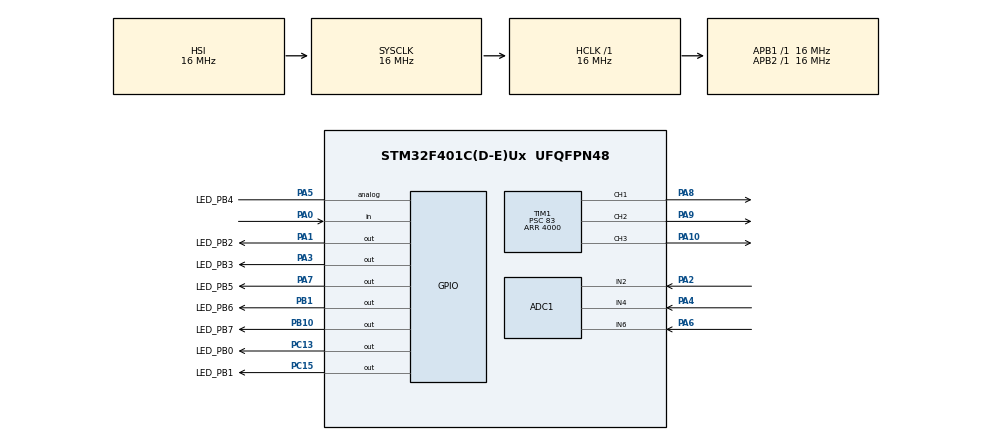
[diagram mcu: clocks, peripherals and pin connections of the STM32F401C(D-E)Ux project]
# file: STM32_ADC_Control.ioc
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ADC1.Channel-0\#ChannelRegularConversion=ADC_CHANNEL_6
ADC1.Channel-1\#ChannelRegularConversion=ADC_CHANNEL_2
ADC1.Channel-2\#ChannelRegularConversion=ADC_CHANNEL_4
ADC1.ContinuousConvMode=DISABLE
ADC1.DMAContinuousRequests=ENABLE
ADC1.DiscontinuousConvMode=ENABLE
ADC1.EOCSelection=ADC_EOC_SEQ_CONV
ADC1.NbrOfConversion=3
ADC1.NbrOfConversionFlag=1
ADC1.Rank-0\#ChannelRegularConversion=1
ADC1.Rank-1\#ChannelRegularConversion=2
ADC1.Rank-2\#ChannelRegularConversion=3
ADC1.SamplingTime-0\#ChannelRegularConversion=ADC_SAMPLETIME_3CYCLES
ADC1.SamplingTime-1\#ChannelRegularConversion=ADC_SAMPLETIME_3CYCLES
ADC1.SamplingTime-2\#ChannelRegularConversion=ADC_SAMPLETIME_3CYCLES
ADC1.ScanConvMode=ENABLE
ADC1.master=1
Dma.ADC1.0.Direction=DMA_PERIPH_TO_MEMORY
Dma.ADC1.0.FIFOMode=DMA_FIFOMODE_DISABLE
Dma.ADC1.0.Instance=DMA2_Stream0
Dma.ADC1.0.MemDataAlignment=DMA_MDATAALIGN_HALFWORD
Dma.ADC1.0.MemInc=DMA_MINC_ENABLE
Dma.ADC1.0.Mode=DMA_CIRCULAR
Dma.ADC1.0.PeriphDataAlignment=DMA_PDATAALIGN_HALFWORD
Dma.ADC1.0.PeriphInc=DMA_PINC_DISABLE
Dma.ADC1.0.Priority=DMA_PRIORITY_LOW
Dma.Request0=ADC1
FREERTOS.Tasks01=Handle_Button,1,128,Handle_Button_Task,Default,NULL,Dynamic,NULL,NULL;defaultTask,1,128,default_Task,Default,NULL,Dynamic,NULL,NULL;LED_PC15,0,128,LED_PC15_Task,Default,NULL,Dynamic,NULL,NULL;LED_PC13,0,128,LED_PC04_Task,Default,NULL,Dynamic,NULL,NULL
Mcu.Family=STM32F4
Mcu.Name=STM32F401C(D-E)Ux
Mcu.Package=UFQFPN48
NVIC.DMA2_Stream0_IRQn=true\:5\:0\:false\:false\:true\:true\:false\:true\:true
NVIC.PriorityGroup=NVIC_PRIORITYGROUP_4
NVIC.TIM2_IRQn=true\:15\:0\:false\:false\:true\:false\:false\:true\:true
NVIC.TimeBase=TIM2_IRQn
NVIC.TimeBaseIP=TIM2
PA0-WKUP.GPIO_PuPd=GPIO_PULLUP
PA0-WKUP.Signal=GPIO_Input
PA1.GPIO_Label=LED_PB2
PA1.Signal=GPIO_Output
PA10.Signal=S_TIM1_CH3
PA13.Mode=Serial_Wire
PA13.Signal=SYS_JTMS-SWDIO
PA14.Mode=Serial_Wire
PA14.Signal=SYS_JTCK-SWCLK
PA2.Signal=ADCx_IN2
PA3.GPIO_Label=LED_PB3
PA3.Signal=GPIO_Output
PA4.Signal=ADCx_IN4
PA5.GPIO_Label=LED_PB4
PA5.Signal=GPIO_Analog
PA6.Signal=ADCx_IN6
PA7.GPIO_Label=LED_PB5
PA7.Signal=GPIO_Output
PA8.Signal=S_TIM1_CH1
PA9.Signal=S_TIM1_CH2
PB1.GPIO_Label=LED_PB6
PB1.GPIO_PuPd=GPIO_PULLUP
PB1.Signal=GPIO_Output
PB10.GPIO_Label=LED_PB7
PB10.Signal=GPIO_Output
PC13-ANTI_TAMP.GPIO_Label=LED_PB0
PC13-ANTI_TAMP.Signal=GPIO_Output
PC15-OSC32_OUT.GPIO_Label=LED_PB1
PC15-OSC32_OUT.Signal=GPIO_Output
ProjectManager.HeapSize=0x200
ProjectManager.StackSize=0x400
ProjectManager.TargetToolchain=CMake
RCC.AHBFreq_Value=16000000
RCC.APB1Freq_Value=16000000
RCC.APB2Freq_Value=16000000
RCC.CortexFreq_Value=16000000
RCC.HSE_VALUE=25000000
RCC.HSI_VALUE=16000000
RCC.LSE_VALUE=32768
RCC.SYSCLKFreq_VALUE=16000000
RCC.VCOOutputFreq_Value=192000000
SH.ADCx_IN2.0=ADC1_IN2,IN2
SH.ADCx_IN4.0=ADC1_IN4,IN4
SH.ADCx_IN6.0=ADC1_IN6,IN6
SH.S_TIM1_CH1.0=TIM1_CH1,PWM Generation1 CH1
SH.S_TIM1_CH2.0=TIM1_CH2,PWM Generation2 CH2
SH.S_TIM1_CH3.0=TIM1_CH3,PWM Generation3 CH3
TIM1.Channel-PWM\ Generation1\ CH1=TIM_CHANNEL_1
TIM1.Channel-PWM\ Generation2\ CH2=TIM_CHANNEL_2
TIM1.Channel-PWM\ Generation3\ CH3=TIM_CHANNEL_3
TIM1.Period=4000
TIM1.Prescaler=83
VP_FREERTOS_VS_CMSIS_V1.Mode=CMSIS_V1
VP_SYS_VS_tim2.Mode=TIM2
VP_TIM1_VS_ClockSourceINT.Mode=Internal
board=custom

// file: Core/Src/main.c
/* USER CODE BEGIN Header */
/**
  ******************************************************************************
  * @file           : main.c
  * @brief          : Main program body
  ******************************************************************************
  * @attention
  *
  * Copyright (c) 2026 STMicroelectronics.
  * All rights reserved.
  *
  * This software is licensed under terms that can be found in the LICENSE file
  * in the root directory of this software component.
  * If no LICENSE file comes with this software, it is provided AS-IS.
  *
  ******************************************************************************
  */
/* USER CODE END Header */
#include "main.h"
#include "cmsis_os.h"

/* USER CODE BEGIN Includes */
#include <stdbool.h>
#include <stdint.h>

/* USER CODE END Includes */

/* USER CODE BEGIN PM */
#define ADC_CHANNELS 3
#define ADC_FULL_SCALE 4096
#define DIGITAL_INPUTS 1
#define PWM_OUTPUTS 3

#define BUTTON_Pin GPIO_PIN_13

#define NUM_LEDS 8

// Button thresholds (in ms)
#define PRESS_SHORT_TIME_MS 300
#define PRESS_LONG_TIME_MS 500
#define PRESS_DOUBLE_TIME_MS 500

// Random
#define RAND_BUFFER_SIZE 16

/* USER CODE END PM */

ADC_HandleTypeDef hadc1;
DMA_HandleTypeDef hdma_adc1;

TIM_HandleTypeDef htim1;

osThreadId Handle_ButtonHandle;
osThreadId defaultTaskHandle;
osThreadId LED_PC15Handle;
osThreadId LED_PC13Handle;
/* USER CODE BEGIN PV */

// Buffer to store ADC readings from 3 channels
uint16_t adc_buffer[ADC_CHANNELS];

// Which sensor (0, 1, 2) we'are currently displaying
uint8_t current_channel = 0;

// There're two options (0 - bar graph | 1 - binary)
uint8_t display_mode = 1;

// Running light animation (0 - normal display | 1 - one LED moves back and forth)
bool running_mode = false;

// Button handling variables
typedef struct {
  bool is_button_pressed;
  uint32_t press_time; // in seconds
  uint32_t last_release; // in seconds
  uint32_t click_count;
} ButtonInput;

ButtonInput button_input = {
  .is_button_pressed = false,
  .press_time = 0, // in seconds
  .last_release = 0, // in seconds
  .click_count = 0, // for double clicks
};

// Running LED animation state
typedef struct{
  bool direction;
  uint8_t position;
  uint32_t last_update_time;
} RunningLED;

RunningLED running_led = {
  .position = 0,
  .last_update_time = 0,
  .direction = true,
};

uint32_t random_buffer[RAND_BUFFER_SIZE] = {0};
uint8_t random_buffer_index = 0;

// Mutex for thread-safe random number access
osMutexId randomMutexHandle;

// Set LED (GPIO) pins
GPIO_TypeDef *led_ports[NUM_LEDS] = {
  LED_PB0_GPIO_Port, LED_PB1_GPIO_Port, LED_PB2_GPIO_Port, LED_PB3_GPIO_Port,
  LED_PB4_GPIO_Port, LED_PB5_GPIO_Port, LED_PB6_GPIO_Port, LED_PB7_GPIO_Port
};

uint16_t led_pins[NUM_LEDS] = {
  LED_PB0_Pin, LED_PB1_Pin, LED_PB2_Pin, LED_PB3_Pin,
  LED_PB4_Pin, LED_PB5_Pin, LED_PB6_Pin, LED_PB7_Pin
};

/* USER CODE END PV */

void SystemClock_Config(void);
static void MX_GPIO_Init(void);
static void MX_DMA_Init(void);
static void MX_ADC1_Init(void);
static void MX_TIM1_Init(void);
void Handle_Button_Task(void const * argument);
void default_Task(void const * argument);
void LED_PC15_Task(void const * argument);
void LED_PC04_Task(void const * argument);

/* USER CODE BEGIN PFP */
void set_NUM_LEDS(uint8_t pattern);
void Display_Scale(uint16_t adc_buffer);
void Display_Bits(uint16_t adc_value);
void Indicate_Channels(uint8_t channel);
void Update_Running_LED(void);
void Update_PWM_Outputs(void);
uint32_t ADC_Random_Byte(void);
uint32_t ADC_Random_Word(void);
/* USER CODE END PFP */

/* USER CODE BEGIN 0 */

// Set LED GPIO pins
void set_NUM_LEDS(uint8_t pattern)
{
  for (uint16_t i = 0; i < NUM_LEDS; i++)
  {
    HAL_GPIO_WritePin(led_ports[i], led_pins[i],
    (pattern & (1 << i)) ?  GPIO_PIN_SET : GPIO_PIN_RESET);
  }
}

// The bar graph scale mode for 8 NUM_LEDS
void Display_Scale(uint16_t adc_value)
{
  // Convert ADC_value (0-4095) to the LED count (0-8)
  // It results which led is lighting - (0-8)
  uint8_t led_count = (adc_value * 9) / ADC_FULL_SCALE;
  uint8_t pattern = 0;

  // It does bit shifting manipulation (shift it left by i pos)
  for (uint16_t i = 0; i < led_count; i++)
  {
    pattern = pattern | (1 << i);
  }

  set_NUM_LEDS(pattern);
}

// Display upper 8 bits of ADC value in binary
void Display_Bits(uint16_t adc_value)
{
  uint8_t upper_bits = (adc_value >> 4) & 0xFF;
  set_NUM_LEDS(upper_bits);
}

// Blink all NUM_LEDS to indicate channel number
void Indicate_Channel(uint8_t channel)
{
  // Blink (channel + 1) times
  for (uint8_t i = 0; i < (channel + 1); i++)
  {
    set_NUM_LEDS(0xFF); // All NUM_LEDS ON
    HAL_Delay(200);
    set_NUM_LEDS(0x00); // All NUM_LEDS OFF
    HAL_Delay(200);
  }
}

// Update running LED animation
void Update_Running_LED(void)
{
  uint16_t adc_value = adc_buffer[current_channel];

  // Calculate delay based on Button thresholds and ADC value
  uint32_t delay = PRESS_LONG_TIME_MS - ((adc_value * (PRESS_LONG_TIME_MS - PRESS_SHORT_TIME_MS)) / ADC_FULL_SCALE);
  uint32_t current_time = HAL_GetTick();

  if (current_time - running_led.last_update_time >= delay)
  {
    running_led.last_update_time = current_time;

    // Light only the current LED
    set_NUM_LEDS(1 << running_led.position);

    if (running_led.direction)
    {
      running_led.position++;
      if (running_led.position >= (NUM_LEDS - 1))
      {
        running_led.position = NUM_LEDS - 1;
        running_led.direction = false; // Reverse direction
      }
    } else {
      // Moving backward
      if (running_led.position == 0)
      {
        running_led.direction = true;
      } else {
        running_led.position--;
      }
    }
  }
}

void Update_PWM_Outputs(void)
{
  uint32_t pwm_period = htim1.Init.Period;

  // Set PWM duty cycle proportional to ADC value
  __HAL_TIM_SET_COMPARE(&htim1, TIM_CHANNEL_1, (adc_buffer[0] * pwm_period) / ADC_FULL_SCALE);
  __HAL_TIM_SET_COMPARE(&htim1, TIM_CHANNEL_2, (adc_buffer[1] * pwm_period) / ADC_FULL_SCALE);
  __HAL_TIM_SET_COMPARE(&htim1, TIM_CHANNEL_3, (adc_buffer[2] * pwm_period) / ADC_FULL_SCALE);
}

// Uses least significant bits which contain thermal noise
uint32_t ADC_Random_Byte(void)
{
  uint8_t random = 0;

  // Collect Least Significnt Bits multiple ADC samples
  for (int i = 0; i < 8; i++)
  {
    uint32_t bit = adc_buffer[i % ADC_CHANNELS] & 0x01;
    random = (random << 1) | bit;

    for (volatile int j = 0; j < 100; j++);
  }

  return random;
}

// Get 32-bit random from ADC
uint32_t ADC_Random_Word(void)
{
  uint32_t random = 0;

  random |= ((uint32_t)ADC_Random_Byte()) << 13;
  random |= ((uint32_t)ADC_Random_Byte() << 17);
  random |= ((uint32_t)ADC_Random_Byte() << 5);
  random |= ((uint32_t)ADC_Random_Byte());

  return random;
}

/* USER CODE END 0 */

int main(void)
{

  /* MCU Configuration--------------------------------------------------------*/

  /* Reset of all peripherals, Initializes the Flash interface and the Systick. */
  HAL_Init();

  /* Configure the system clock */
  SystemClock_Config();

  /* Initialize all configured peripherals */
  MX_GPIO_Init();
  MX_DMA_Init();
  MX_ADC1_Init();
  MX_TIM1_Init();
  /* USER CODE BEGIN 2 */

  // Start ADC with DMA
  if (HAL_ADC_Start_DMA(&hadc1, (uint32_t*)adc_buffer, sizeof(adc_buffer) / sizeof(adc_buffer[0])) != HAL_OK)
  {
    while (1)
    {
      set_NUM_LEDS(0xFF); // All NUM_LEDS ON
      HAL_Delay(100);
      set_NUM_LEDS(0x00); // All NUM_LEDS OFF
      HAL_Delay(200);
    }
  }

  // Start PWM on all 3 channels
  HAL_TIM_PWM_Start(&htim1, TIM_CHANNEL_1);
  HAL_TIM_PWM_Start(&htim1, TIM_CHANNEL_2);
  HAL_TIM_PWM_Start(&htim1, TIM_CHANNEL_3);

  // Initial indication: show channel 0 selected
  Indicate_Channel(current_channel);
  /* USER CODE END 2 */

  /* USER CODE BEGIN RTOS_MUTEX */
    // Create mutex for random number access

  /* USER CODE END RTOS_MUTEX */

  /* Create the thread(s) */
  /* definition and creation of Handle_Button */
  osThreadDef(Handle_Button, Handle_Button_Task, osPriorityAboveNormal, 0, 128);
  Handle_ButtonHandle = osThreadCreate(osThread(Handle_Button), NULL);

  /* definition and creation of defaultTask */
  osThreadDef(defaultTask, default_Task, osPriorityAboveNormal, 0, 128);
  defaultTaskHandle = osThreadCreate(osThread(defaultTask), NULL);

  /* definition and creation of LED_PC15 */
  osThreadDef(LED_PC15, LED_PC15_Task, osPriorityNormal, 0, 128);
  LED_PC15Handle = osThreadCreate(osThread(LED_PC15), NULL);

  /* definition and creation of LED_PC13 */
  osThreadDef(LED_PC13, LED_PC04_Task, osPriorityNormal, 0, 128);
  LED_PC13Handle = osThreadCreate(osThread(LED_PC13), NULL);

  /* Start scheduler */
  osKernelStart();

  /* We should never get here as control is now taken by the scheduler */

  /* Infinite loop */
  /* USER CODE BEGIN WHILE */

    // Set small delay for button debouncing to prevent CPU overflow
    HAL_Delay(10);

    /* USER CODE END WHILE */

}

void SystemClock_Config(void)
{
  RCC_OscInitTypeDef RCC_OscInitStruct = {0};
  RCC_ClkInitTypeDef RCC_ClkInitStruct = {0};

  /** Configure the main internal regulator output voltage
  */
  __HAL_RCC_PWR_CLK_ENABLE();
  __HAL_PWR_VOLTAGESCALING_CONFIG(PWR_REGULATOR_VOLTAGE_SCALE2);

  /** Initializes the RCC Oscillators according to the specified parameters
  * in the RCC_OscInitTypeDef structure.
  */
  RCC_OscInitStruct.OscillatorType = RCC_OSCILLATORTYPE_HSI;
  RCC_OscInitStruct.HSIState = RCC_HSI_ON;
  RCC_OscInitStruct.HSICalibrationValue = RCC_HSICALIBRATION_DEFAULT;
  RCC_OscInitStruct.PLL.PLLState = RCC_PLL_NONE;
  if (HAL_RCC_OscConfig(&RCC_OscInitStruct) != HAL_OK)
  {
    Error_Handler();
  }

  /** Initializes the CPU, AHB and APB buses clocks
  */
  RCC_ClkInitStruct.ClockType = RCC_CLOCKTYPE_HCLK|RCC_CLOCKTYPE_SYSCLK
                              |RCC_CLOCKTYPE_PCLK1|RCC_CLOCKTYPE_PCLK2;
  RCC_ClkInitStruct.SYSCLKSource = RCC_SYSCLKSOURCE_HSI;
  RCC_ClkInitStruct.AHBCLKDivider = RCC_SYSCLK_DIV1;
  RCC_ClkInitStruct.APB1CLKDivider = RCC_HCLK_DIV1;
  RCC_ClkInitStruct.APB2CLKDivider = RCC_HCLK_DIV1;

  if (HAL_RCC_ClockConfig(&RCC_ClkInitStruct, FLASH_LATENCY_0) != HAL_OK)
  {
    Error_Handler();
  }
}

static void MX_ADC1_Init(void)
{

  ADC_ChannelConfTypeDef sConfig = {0};

  /** Configure the global features of the ADC (Clock, Resolution, Data Alignment and number of conversion)
  */
  hadc1.Instance = ADC1;
  hadc1.Init.ClockPrescaler = ADC_CLOCK_SYNC_PCLK_DIV2;
  hadc1.Init.Resolution = ADC_RESOLUTION_12B;
  hadc1.Init.ScanConvMode = ENABLE;
  hadc1.Init.ContinuousConvMode = DISABLE;
  hadc1.Init.DiscontinuousConvMode = ENABLE;
  hadc1.Init.NbrOfDiscConversion = 1;
  hadc1.Init.ExternalTrigConvEdge = ADC_EXTERNALTRIGCONVEDGE_NONE;
  hadc1.Init.ExternalTrigConv = ADC_SOFTWARE_START;
  hadc1.Init.DataAlign = ADC_DATAALIGN_RIGHT;
  hadc1.Init.NbrOfConversion = 3;
  hadc1.Init.DMAContinuousRequests = ENABLE;
  hadc1.Init.EOCSelection = ADC_EOC_SEQ_CONV;
  if (HAL_ADC_Init(&hadc1) != HAL_OK)
  {
    Error_Handler();
  }

  /** Configure for the selected ADC regular channel its corresponding rank in the sequencer and its sample time.
  */
  sConfig.Channel = ADC_CHANNEL_6;
  sConfig.Rank = 1;
  sConfig.SamplingTime = ADC_SAMPLETIME_3CYCLES;
  if (HAL_ADC_ConfigChannel(&hadc1, &sConfig) != HAL_OK)
  {
    Error_Handler();
  }

  /** Configure for the selected ADC regular channel its corresponding rank in the sequencer and its sample time.
  */
  sConfig.Channel = ADC_CHANNEL_2;
  sConfig.Rank = 2;
  if (HAL_ADC_ConfigChannel(&hadc1, &sConfig) != HAL_OK)
  {
    Error_Handler();
  }

  /** Configure for the selected ADC regular channel its corresponding rank in the sequencer and its sample time.
  */
  sConfig.Channel = ADC_CHANNEL_4;
  sConfig.Rank = 3;
  if (HAL_ADC_ConfigChannel(&hadc1, &sConfig) != HAL_OK)
  {
    Error_Handler();
  }

}

static void MX_TIM1_Init(void)
{

  TIM_ClockConfigTypeDef sClockSourceConfig = {0};
  TIM_MasterConfigTypeDef sMasterConfig = {0};
  TIM_OC_InitTypeDef sConfigOC = {0};
  TIM_BreakDeadTimeConfigTypeDef sBreakDeadTimeConfig = {0};

  htim1.Instance = TIM1;
  htim1.Init.Prescaler = 83;
  htim1.Init.CounterMode = TIM_COUNTERMODE_UP;
  htim1.Init.Period = 4000;
  htim1.Init.ClockDivision = TIM_CLOCKDIVISION_DIV1;
  htim1.Init.RepetitionCounter = 0;
  htim1.Init.AutoReloadPreload = TIM_AUTORELOAD_PRELOAD_DISABLE;
  if (HAL_TIM_Base_Init(&htim1) != HAL_OK)
  {
    Error_Handler();
  }
  sClockSourceConfig.ClockSource = TIM_CLOCKSOURCE_INTERNAL;
  if (HAL_TIM_ConfigClockSource(&htim1, &sClockSourceConfig) != HAL_OK)
  {
    Error_Handler();
  }
  if (HAL_TIM_PWM_Init(&htim1) != HAL_OK)
  {
    Error_Handler();
  }
  sMasterConfig.MasterOutputTrigger = TIM_TRGO_RESET;
  sMasterConfig.MasterSlaveMode = TIM_MASTERSLAVEMODE_DISABLE;
  if (HAL_TIMEx_MasterConfigSynchronization(&htim1, &sMasterConfig) != HAL_OK)
  {
    Error_Handler();
  }
  sConfigOC.OCMode = TIM_OCMODE_PWM1;
  sConfigOC.Pulse = 0;
  sConfigOC.OCPolarity = TIM_OCPOLARITY_HIGH;
  sConfigOC.OCNPolarity = TIM_OCNPOLARITY_HIGH;
  sConfigOC.OCFastMode = TIM_OCFAST_DISABLE;
  sConfigOC.OCIdleState = TIM_OCIDLESTATE_RESET;
  sConfigOC.OCNIdleState = TIM_OCNIDLESTATE_RESET;
  if (HAL_TIM_PWM_ConfigChannel(&htim1, &sConfigOC, TIM_CHANNEL_1) != HAL_OK)
  {
    Error_Handler();
  }
  if (HAL_TIM_PWM_ConfigChannel(&htim1, &sConfigOC, TIM_CHANNEL_2) != HAL_OK)
  {
    Error_Handler();
  }
  if (HAL_TIM_PWM_ConfigChannel(&htim1, &sConfigOC, TIM_CHANNEL_3) != HAL_OK)
  {
    Error_Handler();
  }
  sBreakDeadTimeConfig.OffStateRunMode = TIM_OSSR_DISABLE;
  sBreakDeadTimeConfig.OffStateIDLEMode = TIM_OSSI_DISABLE;
  sBreakDeadTimeConfig.LockLevel = TIM_LOCKLEVEL_OFF;
  sBreakDeadTimeConfig.DeadTime = 0;
  sBreakDeadTimeConfig.BreakState = TIM_BREAK_DISABLE;
  sBreakDeadTimeConfig.BreakPolarity = TIM_BREAKPOLARITY_HIGH;
  sBreakDeadTimeConfig.AutomaticOutput = TIM_AUTOMATICOUTPUT_DISABLE;
  if (HAL_TIMEx_ConfigBreakDeadTime(&htim1, &sBreakDeadTimeConfig) != HAL_OK)
  {
    Error_Handler();
  }
  HAL_TIM_MspPostInit(&htim1);

}

static void MX_DMA_Init(void)
{

  /* DMA controller clock enable */
  __HAL_RCC_DMA2_CLK_ENABLE();

  /* DMA interrupt init */
  /* DMA2_Stream0_IRQn interrupt configuration */
  HAL_NVIC_SetPriority(DMA2_Stream0_IRQn, 5, 0);
  HAL_NVIC_EnableIRQ(DMA2_Stream0_IRQn);

}

static void MX_GPIO_Init(void)
{
  GPIO_InitTypeDef GPIO_InitStruct = {0};

  /* GPIO Ports Clock Enable */
  __HAL_RCC_GPIOC_CLK_ENABLE();
  __HAL_RCC_GPIOA_CLK_ENABLE();
  __HAL_RCC_GPIOB_CLK_ENABLE();

  /*Configure GPIO pin Output Level */
  HAL_GPIO_WritePin(GPIOC, LED_PB0_Pin|LED_PB1_Pin, GPIO_PIN_RESET);

  /*Configure GPIO pin Output Level */
  HAL_GPIO_WritePin(GPIOA, LED_PB2_Pin|LED_PB3_Pin|LED_PB5_Pin, GPIO_PIN_RESET);

  /*Configure GPIO pin Output Level */
  HAL_GPIO_WritePin(GPIOB, LED_PB6_Pin|LED_PB7_Pin, GPIO_PIN_RESET);

  /*Configure GPIO pins : LED_PB0_Pin LED_PB1_Pin */
  GPIO_InitStruct.Pin = LED_PB0_Pin|LED_PB1_Pin;
  GPIO_InitStruct.Mode = GPIO_MODE_OUTPUT_PP;
  GPIO_InitStruct.Pull = GPIO_NOPULL;
  GPIO_InitStruct.Speed = GPIO_SPEED_FREQ_LOW;
  HAL_GPIO_Init(GPIOC, &GPIO_InitStruct);

  /*Configure GPIO pin : PA0 */
  GPIO_InitStruct.Pin = GPIO_PIN_0;
  GPIO_InitStruct.Mode = GPIO_MODE_INPUT;
  GPIO_InitStruct.Pull = GPIO_PULLUP;
  HAL_GPIO_Init(GPIOA, &GPIO_InitStruct);

  /*Configure GPIO pins : LED_PB2_Pin LED_PB3_Pin LED_PB5_Pin */
  GPIO_InitStruct.Pin = LED_PB2_Pin|LED_PB3_Pin|LED_PB5_Pin;
  GPIO_InitStruct.Mode = GPIO_MODE_OUTPUT_PP;
  GPIO_InitStruct.Pull = GPIO_NOPULL;
  GPIO_InitStruct.Speed = GPIO_SPEED_FREQ_LOW;
  HAL_GPIO_Init(GPIOA, &GPIO_InitStruct);

  /*Configure GPIO pin : LED_PB4_Pin */
  GPIO_InitStruct.Pin = LED_PB4_Pin;
  GPIO_InitStruct.Mode = GPIO_MODE_ANALOG;
  GPIO_InitStruct.Pull = GPIO_NOPULL;
  HAL_GPIO_Init(LED_PB4_GPIO_Port, &GPIO_InitStruct);

  /*Configure GPIO pin : LED_PB6_Pin */
  GPIO_InitStruct.Pin = LED_PB6_Pin;
  GPIO_InitStruct.Mode = GPIO_MODE_OUTPUT_PP;
  GPIO_InitStruct.Pull = GPIO_PULLUP;
  GPIO_InitStruct.Speed = GPIO_SPEED_FREQ_LOW;
  HAL_GPIO_Init(LED_PB6_GPIO_Port, &GPIO_InitStruct);

  /*Configure GPIO pin : LED_PB7_Pin */
  GPIO_InitStruct.Pin = LED_PB7_Pin;
  GPIO_InitStruct.Mode = GPIO_MODE_OUTPUT_PP;
  GPIO_InitStruct.Pull = GPIO_NOPULL;
  GPIO_InitStruct.Speed = GPIO_SPEED_FREQ_LOW;
  HAL_GPIO_Init(LED_PB7_GPIO_Port, &GPIO_InitStruct);

}

void Handle_Button_Task(void const * argument)
{
  /* USER CODE BEGIN 5 */
  /* Infinite loop */

  for(;;)
  {
    bool button_state = (HAL_GPIO_ReadPin(GPIOA, GPIO_PIN_0) == GPIO_PIN_RESET);
    uint32_t current_time = HAL_GetTick();

    // Button PRESS detection
    if (button_state && !button_input.is_button_pressed)
    {
      button_input.is_button_pressed = true;
      button_input.press_time = current_time;
    }

    // Button RELEASE detection
    if (!button_state && button_input.is_button_pressed)
    {
      button_input.is_button_pressed = false;
      uint32_t press_duration = current_time - button_input.press_time;

      // SHORT PRESS (<300ms)
      if (press_duration < PRESS_SHORT_TIME_MS)
      {
        // Check for double click
        if (current_time - button_input.last_release < PRESS_DOUBLE_TIME_MS)
        {
          button_input.click_count++;

          if (button_input.click_count == 2)
          {
            // DOUBLE CLICK - Toggle running mode
            running_mode = !running_mode;

            if (running_mode)
            {
              running_led.position = 0;
              running_led.direction = true;
              running_led.last_update_time = current_time;
            }

            button_input.click_count = 0;
          }
        } else {
          // SINGLE SHORT PRESS - Toggle display mode
          if (!running_mode)
          {
            display_mode = !display_mode;
          }
          button_input.click_count = 1;
        }

        button_input.last_release = current_time;
      }
      // LONG PRESS (>=500ms)
      else if (press_duration >= PRESS_LONG_TIME_MS)
      {
        // Change channel
        running_mode = false;
        current_channel = (current_channel + 1) % ADC_CHANNELS;
        Indicate_Channel(current_channel);
        button_input.click_count = 0;
      }
    }

    // Reset click counter if timeout
    if (current_time - button_input.last_release > PRESS_DOUBLE_TIME_MS &&
        button_input.click_count == 1)
    {
      button_input.click_count = 0;
    }

    osDelay(1);
  }
  /* USER CODE END 5 */
}

void default_Task(void const * argument)
{
  /* USER CODE BEGIN default_Task */
  /* Infinite loop */
  for(;;)
  {
    Update_PWM_Outputs();

    HAL_ADC_Start_DMA(&hadc1, (uint32_t*)adc_buffer, sizeof(adc_buffer) / sizeof(adc_buffer[0]));

    if (running_mode == true)
    {
      Update_Running_LED();
    } else {
      uint16_t current_adc = adc_buffer[current_channel];

      if (display_mode == 0)
      {
        Display_Scale(current_adc);
      } else {
        Display_Bits(current_adc);
      }
    }

    osDelay(1);
  }
  /* USER CODE END default_Task */
}

void LED_PC15_Task(void const * argument)
{
  /* USER CODE BEGIN LED_PC15_Task */
  /* Infinite loop */
  for(;;)
  {
    HAL_GPIO_TogglePin(GPIOC, GPIO_PIN_14);
    osDelay(500);
  }
  /* USER CODE END LED_PC15_Task */
}

void LED_PC04_Task(void const * argument)
{
  /* USER CODE BEGIN LED_PC04_Task */
  /* Infinite loop */
  for(;;)
  {
    // HAL_GPIO_TogglePin(GPIOC, GPIO_PIN_13);
    osDelay(500);
  }
  /* USER CODE END LED_PC04_Task */
}

void HAL_TIM_PeriodElapsedCallback(TIM_HandleTypeDef *htim)
{
  if (htim->Instance == TIM2)
  {
    HAL_IncTick();
  }
}

void Error_Handler(void)
{
  __disable_irq();
  while (1)
  {
  }
}
